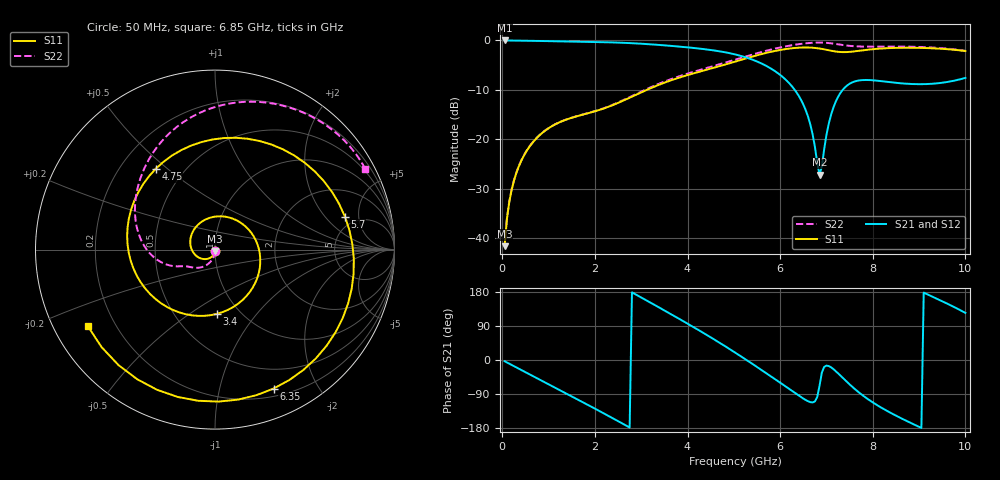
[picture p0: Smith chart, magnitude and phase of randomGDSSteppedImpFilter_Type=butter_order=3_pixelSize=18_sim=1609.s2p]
! freq	dB(S11)	phase(S11)	dB(S12)	phase(S12)
!  dB(S21)	phase(S21)	dB(S22)	phase(S22)
!S-par simulation data
#  GHz  S  DB  R 50
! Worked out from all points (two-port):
!   200 points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, 50 MHz to 10 GHz, reference 50 ohm
!   highest |S21| = -0.02 dB at 50 MHz (marker M1); lowest = -27.2 dB at 6.85 GHz (marker M2)
!   |S21| within 3 dB of the highest: start of sweep to 5.103 GHz
!   lowest |S11| = -41.6 dB at 50 MHz (marker M3), VSWR 1.02, Z = 50.1 - j0.827 ohm
!   |S11| at or under -10 dB: start of sweep to 3.124 GHz
!   |S22| runs from -41.6 to -0.4 dB; largest |S21 - S12| = 0
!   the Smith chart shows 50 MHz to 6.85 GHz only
!   S11 on the Smith chart (normalised r, x): 50 MHz: 1.00, -0.02; 3.4 GHz: 0.79, -0.65; 4.75 GHz: 0.35, +0.46; 5.7 GHz: 4.03, +3.34; 6.35 GHz: 0.28, -1.47; 6.85 GHz: 0.10, -0.27
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0.05  -41.64 -86.1  -0.02 -3.3  -0.02 -3.3  -41.57 -83.7
0.2  -30.32 -105.3  -0.03 -12.9  -0.03 -12.9  -30.22 -96.5
0.5  -22.77 -133.5  -0.07 -32.1  -0.07 -32.1  -22.69 -110.8
1.15  -16.96 166.0  -0.18 -73.5  -0.18 -73.5  -16.93 -134.5
1.75  -14.99 102.7  -0.27 -112.0  -0.27 -112.0  -14.97 -148.2
2.6  -12.24 1.0  -0.49 -168.0  -0.49 -168.0  -12.14 -158.1
3.4  -8.92 -88.1  -0.93 137.7  -0.93 137.7  -8.71 -177.4
4.05  -6.89 -156.5  -1.46 92.4  -1.46 92.4  -6.59 160.5
4.75  -5.06 126.2  -2.30 41.1  -2.30 41.1  -4.68 134.4
5.05  -4.24 91.3  -2.89 17.8  -2.89 17.8  -3.85 122.3
5.35  -3.41 55.8  -3.73 -6.2  -3.73 -6.2  -3.01 109.1
5.7  -2.53 14.2  -5.16 -34.9  -5.16 -34.9  -2.10 92.1
6.05  -1.86 -28.2  -7.37 -64.2  -7.37 -64.2  -1.34 73.8
6.35  -1.51 -67.2  -10.48 -89.5  -10.48 -89.5  -0.84 57.3
6.7  -1.49 -121.0  -18.96 -112.0  -18.96 -112.0  -0.48 37.2
6.85  -1.65 -149.1  -27.18 -68.4  -27.18 -68.4  -0.44 28.4
7.1  -2.09 155.7  -15.04 -19.4  -15.04 -19.4  -0.59 14.1
7.4  -2.38 83.8  -9.51 -52.8  -9.51 -52.8  -1.00 -0.7
7.8  -2.00 9.2  -8.02 -95.0  -8.02 -95.0  -1.26 -17.2
8.35  -1.56 -52.5  -8.43 -137.1  -8.43 -137.1  -1.24 -40.5
9.1  -1.53 -107.4  -8.86 177.8  -8.86 177.8  -1.36 -74.3
10  -2.15 -166.4  -7.59 124.3  -7.59 124.3  -2.13 -121.1
